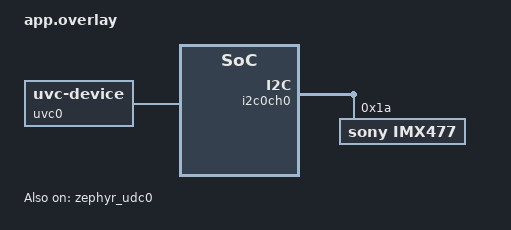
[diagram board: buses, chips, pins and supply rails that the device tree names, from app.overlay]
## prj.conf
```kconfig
CONFIG_MINIMAL_LIBC=y
CONFIG_ASSERT=y
CONFIG_SERIAL=y

# SHELL
CONFIG_SHELL=y
CONFIG_I2C_SHELL=y
CONFIG_VIDEO_SHELL=y
CONFIG_KERNEL_SHELL=y
CONFIG_SHELL_BACKEND_SERIAL_API_INTERRUPT_DRIVEN=y
CONFIG_SHELL_BACKEND_SERIAL_TX_RING_BUFFER_SIZE=64

# USB
CONFIG_UDC_DRIVER=y
CONFIG_USB_DEVICE_STACK_NEXT=y
CONFIG_USBD_VIDEO_CLASS=y

# VIDEO
CONFIG_VIDEO=y
CONFIG_VIDEO_BUFFER_POOL_SZ_MAX=4096
CONFIG_VIDEO_BUFFER_POOL_NUM_MAX=1

# I2C
# To support both addon adapter boards with the same firmware.
CONFIG_I2C_PCA9542A_IGNORE_FAILURE=y

# LOG
CONFIG_LOG=y
CONFIG_LOG_MODE_MINIMAL=y
CONFIG_UDC_DRIVER_LOG_LEVEL_INF=y
CONFIG_USBD_LOG_LEVEL_INF=y
CONFIG_USBD_VIDEO_LOG_LEVEL_DBG=y
CONFIG_VIDEO_LOG_LEVEL_DBG=y
```

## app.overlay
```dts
/*
 * Copyright (c) 2025 tinyVision.ai Inc.
 *
 * SPDX-License-Identifier: Apache-2.0
 */

#include <riscv/tinyvision/from_csi0_to_stats0.dtsi>
#include <riscv/tinyvision/from_csi0_to_debayer0.dtsi>
#include <riscv/tinyvision/from_debayer0_to_uvcmanager0.dtsi>

/* USB interfaces */

&zephyr_udc0 {
	num-in-endpoints = <2>;
	num-out-endpoints = <1>;
	status = "okay";

	uvc0: uvc0 {
		compatible = "zephyr,uvc-device";
		interface-name = "tinyCLUNX33-IMX477";
	};
};

&uvcmanager0 {
	usb-endpoint = <0x81>;
};

/* Camera 0 config */

&i2c0ch0 {
	imx477@1a {
		compatible = "sony,imx477";
		reg = <0x1a>;

		port {
			imx477_ep_out: endpoint {
				remote-endpoint-label = "csi0_ep_in";
			};
		};
	};
};

&csi0_ep_in {
	remote-endpoint-label = "imx477_ep_out";
};
```

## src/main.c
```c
#include <zephyr/drivers/video.h>
#include <zephyr/drivers/video-controls.h>
#include <zephyr/usb/class/usbd_uvc.h>
#include <zephyr/logging/log.h>

LOG_MODULE_REGISTER(app_main, LOG_LEVEL_INF);

static const struct device *const uvc0_dev = DEVICE_DT_GET(DT_NODELABEL(uvc0));
static const struct device *const uvcmanager0_dev = DEVICE_DT_GET(DT_NODELABEL(uvcmanager0));

int app_usb_init(void);

int main(void)
{
	int ret;

	LOG_INF("Hello World");

	uvc_set_video_dev(uvc0_dev, uvcmanager0_dev);

	LOG_INF("Initializing USB and associated USB classes");

	ret = app_usb_init();
	if (ret != 0) {
		LOG_ERR("Failed to initialize USB");
		return ret;
	}

	LOG_INF("Done, exiting main() and letting the USB stack run");

	return 0;
}
```
